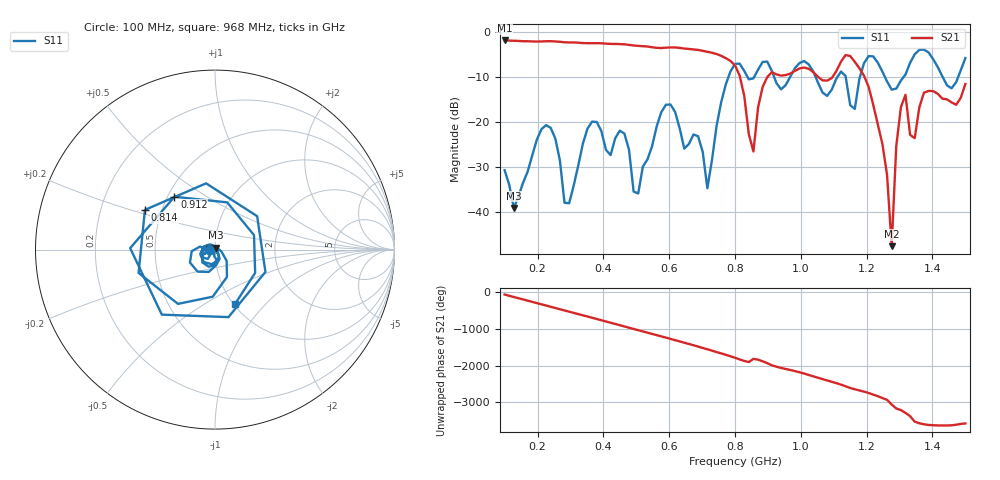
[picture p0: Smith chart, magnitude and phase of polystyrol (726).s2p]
! NanoVNA-App
! Date: 2025-09-25 15:35:32
! Start: 100MHz Stop: 1,5GHz Points: 101
! S-Parameter data: F S11 S21 S12 S22
# Hz S RI R 50
!  Frequency  S11_Real  S11_Imag  S21_Real  S21_Imag  S12_Real  S12_Imag  S22_Real  S22_Imag
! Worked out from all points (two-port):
!   101 points, 100 MHz to 1.5 GHz, reference 50 ohm
!   highest |S21| = -1.80 dB at 100 MHz (marker M1); lowest = -47.6 dB at 1.276 GHz (marker M2)
!   |S21| within 3 dB of the highest: start of sweep to 743 MHz
!   lowest |S11| = -39.1 dB at 128 MHz (marker M3), VSWR 1.02, Z = 50.3 + j1.06 ohm
!   |S11| at or under -10 dB: start of sweep to 779.8 MHz; 1.045 GHz to 1.111 GHz (65.44 MHz wide, 6.07 % of centre); 1.256 GHz to 1.312 GHz (55.71 MHz wide, 4.34 % of centre) (the widest 3 of 7)
!   S12 and S22 are empty: the file has one direction only
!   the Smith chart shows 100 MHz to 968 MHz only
!   S11 on the Smith chart (normalised r, x): 100 MHz: 0.94, -0.01; 814 MHz: 0.40, +0.22; 912 MHz: 0.54, +0.37; 968 MHz: 1.02, -0.69
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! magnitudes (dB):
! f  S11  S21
! 100 MHz  -30.7  -1.8
! 128 MHz  -39.1  -1.9
! 212 MHz  -21.6  -2.0
! 282 MHz  -38.0  -2.2
! 338 MHz  -24.7  -2.4
! 464 MHz  -22.6  -2.7
! 506 MHz  -35.9  -3.0
! 576 MHz  -17.8  -3.5
! 716 MHz  -34.7  -4.3
! 800 MHz  -7.0  -7.4
! 814 MHz  -7.0  -9.6
! 856 MHz  -10.2  -26.5
! 912 MHz  -8.6  -8.9
! 968 MHz  -9.9  -9.2
! 1.038 GHz  -8.7  -8.9
! 1.192 GHz  -6.9  -9.7
! 1.248 GHz  -8.8  -24.9
! 1.276 GHz  -12.8  -47.6
! 1.29 GHz  -12.5  -25.3
! 1.318 GHz  -9.4  -13.9
! 1.346 GHz  -4.9  -23.6
! 1.5 GHz  -5.7  -11.5
